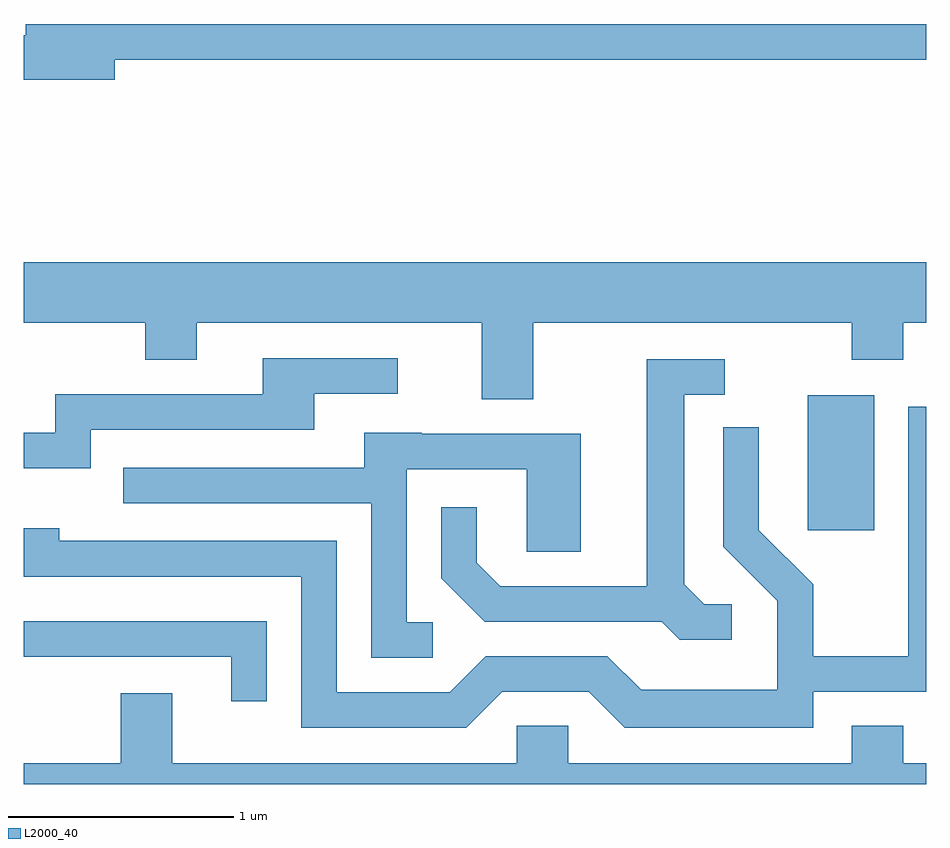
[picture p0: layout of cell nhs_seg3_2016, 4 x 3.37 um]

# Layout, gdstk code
import gdstk
lib = gdstk.Library(unit=1e-6, precision=1e-09)
def R(c, l, rs):  # rectangles x0, y0, x1, y1
    for r in rs: c.add(gdstk.rectangle(r[:2], r[2:], *l))
def P(c, l, *ps):  # polygons
    for p in ps: c.add(gdstk.Polygon(p, *l))
L2000_40 = (2000, 40)

nhs_seg3_2016 = lib.new_cell('nhs_seg3_2016')
R(nhs_seg3_2016, L2000_40, [(247.086,1205.016,247.379,1205.614)])
P(nhs_seg3_2016, L2000_40, [(244.014,1207.101),(247.611,1207.101),(247.611,1207.259),(243.621,1207.259),(243.621,1207.209),(243.611,1207.209),(243.611,1207.011),(244.014,1207.011)],
  [(245.869,1205.936),(247.281,1205.936),(247.281,1205.771),(247.509,1205.771),(247.509,1205.936),(247.611,1205.936),(247.611,1206.204),(243.611,1206.204),(243.611,1205.936),(244.151,1205.936),(244.151,1205.771),(244.379,1205.771),(244.379,1205.936),(245.641,1205.936),(245.641,1205.596),(245.869,1205.596)],
  [(243.909,1205.461),(244.899,1205.461),(244.899,1205.621),(245.268,1205.621),(245.268,1205.779),(244.671,1205.779),(244.671,1205.619),(243.751,1205.619),(243.751,1205.449),(243.611,1205.449),(243.611,1205.291),(243.909,1205.291)],
  [(246.748,1204.689),(246.627,1204.689),(246.539,1204.777),(246.539,1205.616),(246.718,1205.616),(246.718,1205.774),(246.371,1205.774),(246.371,1204.769),(245.722,1204.769),(245.619,1204.872),(245.619,1205.118),(245.461,1205.118),(245.461,1204.804),(245.654,1204.611),(246.439,1204.611),(246.519,1204.531),(246.748,1204.531)],
  [(245.732,1204.301),(246.114,1204.301),(246.274,1204.141),(247.109,1204.141),(247.109,1204.301),(247.611,1204.301),(247.611,1205.564),(247.531,1205.564),(247.531,1204.459),(247.109,1204.459),(247.109,1204.777),(246.869,1205.017),(246.869,1205.473),(246.711,1205.473),(246.711,1204.944),(246.951,1204.704),(246.951,1204.309),(246.347,1204.309),(246.197,1204.459),(245.659,1204.459),(245.499,1204.299),(244.999,1204.299),(244.999,1204.969),(243.769,1204.969),(243.769,1205.024),(243.611,1205.024),(243.611,1204.811),(244.841,1204.811),(244.841,1204.141),(245.572,1204.141)],
  [(245.423,1204.609),(245.309,1204.609),(245.309,1205.286),(245.841,1205.286),(245.841,1204.921),(246.079,1204.921),(246.079,1205.444),(245.375,1205.444),(245.375,1205.449),(245.121,1205.449),(245.121,1205.294),(244.053,1205.294),(244.053,1205.136),(245.151,1205.136),(245.151,1204.451),(245.423,1204.451)],
  [(244.689,1204.614),(243.611,1204.614),(243.611,1204.456),(244.531,1204.456),(244.531,1204.258),(244.689,1204.258)],
  [(247.611,1203.984),(247.509,1203.984),(247.509,1204.149),(247.281,1204.149),(247.281,1203.984),(246.024,1203.984),(246.024,1204.149),(245.796,1204.149),(245.796,1203.984),(244.269,1203.984),(244.269,1204.294),(244.041,1204.294),(244.041,1203.984),(243.611,1203.984),(243.611,1203.892),(247.611,1203.892)])

lib.write_gds('nhs_seg3_2016.gds')
